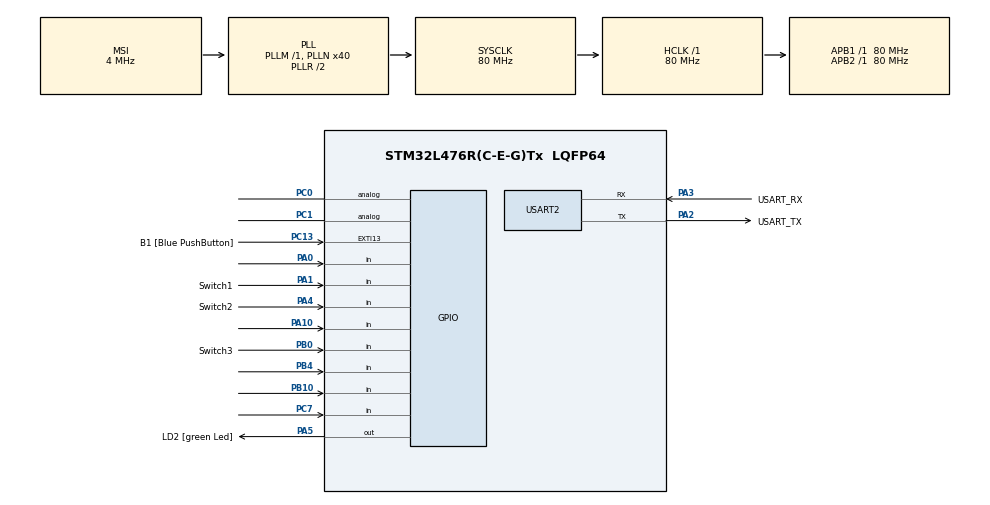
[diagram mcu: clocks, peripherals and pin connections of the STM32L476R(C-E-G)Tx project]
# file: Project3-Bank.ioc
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FREERTOS.RecursiveMutexes01=MUTEX,Dynamic,NULL
FREERTOS.Tasks01=Teller0,24,256,StartTeller0,Default,NULL,Dynamic,NULL,NULL;Customers,24,256,StartCustomers,Default,NULL,Dynamic,NULL,NULL;Clock,24,256,StartClock,Default,NULL,Dynamic,NULL,NULL;Manager,24,256,StartManager,Default,NULL,Dynamic,NULL,NULL;Breaker,24,256,StartBreaker,Default,NULL,Dynamic,NULL,NULL;Teller1,24,256,StartTeller1,Default,NULL,Dynamic,NULL,NULL;Teller2,24,256,StartTeller2,Default,NULL,Dynamic,NULL,NULL
FREERTOS.configTICK_RATE_HZ=1000
FREERTOS.configTOTAL_HEAP_SIZE=23000
FREERTOS.configUSE_IDLE_HOOK=1
FREERTOS.configUSE_NEWLIB_REENTRANT=1
Mcu.Family=STM32L4
Mcu.Name=STM32L476R(C-E-G)Tx
Mcu.Package=LQFP64
NVIC.PriorityGroup=NVIC_PRIORITYGROUP_4
NVIC.RNG_IRQn=true\:5\:0\:false\:false\:true\:true\:true\:true\:true
NVIC.TIM6_DAC_IRQn=true\:5\:0\:false\:false\:true\:true\:true\:true\:true
PA0.Signal=GPIO_Input
PA1.GPIO_Label=Switch1
PA1.Signal=GPIO_Input
PA10.Signal=GPIO_Input
PA13\ (JTMS-SWDIO).GPIO_Label=TMS
PA13\ (JTMS-SWDIO).Signal=SYS_JTMS-SWDIO
PA14\ (JTCK-SWCLK).GPIO_Label=TCK
PA14\ (JTCK-SWCLK).Signal=SYS_JTCK-SWCLK
PA2.GPIO_Label=USART_TX
PA2.GPIO_Mode=GPIO_MODE_AF_PP
PA2.GPIO_PuPd=GPIO_NOPULL
PA2.GPIO_Speed=GPIO_SPEED_FREQ_VERY_HIGH
PA2.Mode=Asynchronous
PA2.Signal=USART2_TX
PA3.GPIO_Label=USART_RX
PA3.GPIO_Mode=GPIO_MODE_AF_PP
PA3.GPIO_PuPd=GPIO_NOPULL
PA3.GPIO_Speed=GPIO_SPEED_FREQ_VERY_HIGH
PA3.Mode=Asynchronous
PA3.Signal=USART2_RX
PA4.GPIO_Label=Switch2
PA4.Signal=GPIO_Input
PA5.GPIO_Label=LD2 [green Led]
PA5.GPIO_ModeDefaultOutputPP=GPIO_MODE_OUTPUT_PP
PA5.GPIO_PuPd=GPIO_NOPULL
PA5.GPIO_Speed=GPIO_SPEED_FREQ_LOW
PA5.Signal=GPIO_Output
PB0.GPIO_Label=Switch3
PB0.Signal=GPIO_Input
PB10.Signal=GPIO_Input
PB3\ (JTDO-TRACESWO).GPIO_Label=SWO
PB3\ (JTDO-TRACESWO).Signal=SYS_JTDO-SWO
PB4\ (NJTRST).Signal=GPIO_Input
PC0.Signal=GPIO_Analog
PC1.Signal=GPIO_Analog
PC13.GPIO_Label=B1 [Blue PushButton]
PC13.GPIO_ModeDefaultEXTI=GPIO_MODE_IT_FALLING
PC13.GPIO_PuPd=GPIO_NOPULL
PC13.Signal=GPXTI13
PC14-OSC32_IN\ (PC14).Signal=RCC_OSC32_IN
PC15-OSC32_OUT\ (PC15).Signal=RCC_OSC32_OUT
PC7.Signal=GPIO_Input
PH0-OSC_IN\ (PH0).Signal=RCC_OSC_IN
PH1-OSC_OUT\ (PH1).Signal=RCC_OSC_OUT
ProjectManager.HeapSize=0x200
ProjectManager.StackSize=0x400
ProjectManager.TargetToolchain=STM32CubeIDE
RCC.ADCFreq_Value=32000000
RCC.AHBFreq_Value=80000000
RCC.APB1Freq_Value=80000000
RCC.APB1TimFreq_Value=80000000
RCC.APB2Freq_Value=80000000
RCC.APB2TimFreq_Value=80000000
RCC.CortexFreq_Value=80000000
RCC.HCLKFreq_Value=80000000
RCC.HSE_VALUE=8000000
RCC.HSI_VALUE=16000000
RCC.LSE_VALUE=32768
RCC.MSI_VALUE=4000000
RCC.PLLN=40
RCC.PLLSAI1N=16
RCC.PREFETCH_ENABLE=1
RCC.SYSCLKFreq_VALUE=80000000
RCC.SYSCLKSource=RCC_SYSCLKSOURCE_PLLCLK
RCC.USBFreq_Value=32000000
RCC.VCOOutputFreq_Value=160000000
TIM6.AutoReloadPreload=TIM_AUTORELOAD_PRELOAD_ENABLE
TIM6.Period=222
TIM6.Prescaler=600
USART2.VirtualMode-Asynchronous=VM_ASYNC
VP_FREERTOS_VS_CMSIS_V2.Mode=CMSIS_V2
VP_RNG_VS_RNG.Mode=RNG_Activate
VP_TIM6_VS_ClockSourceINT.Mode=Enable_Timer
board=NUCLEO-L476RG

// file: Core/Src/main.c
/* USER CODE BEGIN Header */
/**
  ******************************************************************************
  * @file           : main.c
  * @brief          : Main program body
  ******************************************************************************
  * @attention
  *
  * Copyright (c) 2024 STMicroelectronics.
  * All rights reserved.
  *
  * This software is licensed under terms that can be found in the LICENSE file
  * in the root directory of this software component.
  * If no LICENSE file comes with this software, it is provided AS-IS.
  *
  ******************************************************************************
  */
/* USER CODE END Header */
#include "main.h"
#include "cmsis_os.h"

/* USER CODE BEGIN Includes */
#include "clock.h"
#include "customer.h"
#include "teller.h"
#include "breaker.h"
#include "string.h"
#include "stdio.h"
#include "stdlib.h"
#include "manager.h"
/* USER CODE END Includes */

/* USER CODE BEGIN PTD */
int day_over = 0;

/* USER CODE END PTD */

RNG_HandleTypeDef hrng;

TIM_HandleTypeDef htim6;

UART_HandleTypeDef huart2;

/* Definitions for Teller0 */
osThreadId_t Teller0Handle;
const osThreadAttr_t Teller0_attributes = {
  .name = "Teller0",
  .stack_size = 256 * 4,
  .priority = (osPriority_t) osPriorityNormal,
};
/* Definitions for Customers */
osThreadId_t CustomersHandle;
const osThreadAttr_t Customers_attributes = {
  .name = "Customers",
  .stack_size = 256 * 4,
  .priority = (osPriority_t) osPriorityNormal,
};
/* Definitions for Clock */
osThreadId_t ClockHandle;
const osThreadAttr_t Clock_attributes = {
  .name = "Clock",
  .stack_size = 256 * 4,
  .priority = (osPriority_t) osPriorityNormal,
};
/* Definitions for Manager */
osThreadId_t ManagerHandle;
const osThreadAttr_t Manager_attributes = {
  .name = "Manager",
  .stack_size = 256 * 4,
  .priority = (osPriority_t) osPriorityNormal,
};
/* Definitions for Breaker */
osThreadId_t BreakerHandle;
const osThreadAttr_t Breaker_attributes = {
  .name = "Breaker",
  .stack_size = 256 * 4,
  .priority = (osPriority_t) osPriorityNormal,
};
/* Definitions for Teller1 */
osThreadId_t Teller1Handle;
const osThreadAttr_t Teller1_attributes = {
  .name = "Teller1",
  .stack_size = 256 * 4,
  .priority = (osPriority_t) osPriorityNormal,
};
/* Definitions for Teller2 */
osThreadId_t Teller2Handle;
const osThreadAttr_t Teller2_attributes = {
  .name = "Teller2",
  .stack_size = 256 * 4,
  .priority = (osPriority_t) osPriorityNormal,
};
/* Definitions for MUTEX */
osMutexId_t MUTEXHandle;
const osMutexAttr_t MUTEX_attributes = {
  .name = "MUTEX",
  .attr_bits = osMutexRecursive,
};

void SystemClock_Config(void);
static void MX_GPIO_Init(void);
static void MX_USART2_UART_Init(void);
static void MX_RNG_Init(void);
static void MX_TIM6_Init(void);
void StartTeller0(void *argument);
void StartCustomers(void *argument);
void StartClock(void *argument);
void StartManager(void *argument);
void StartBreaker(void *argument);
void StartTeller1(void *argument);
void StartTeller2(void *argument);

/* USER CODE BEGIN PFP */
int update_flag = 0;
/* USER CODE END PFP */

int main(void)
{

  /* MCU Configuration--------------------------------------------------------*/

  /* Reset of all peripherals, Initializes the Flash interface and the Systick. */
  HAL_Init();

  /* Configure the system clock */
  SystemClock_Config();

  /* Initialize all configured peripherals */
  MX_GPIO_Init();
  MX_USART2_UART_Init();
  MX_RNG_Init();
  MX_TIM6_Init();
  /* USER CODE BEGIN 2 */
  HAL_TIM_Base_Start_IT(&htim6);
  /* USER CODE END 2 */

  /* Init scheduler */
  osKernelInitialize();

  /* Create the recursive mutex(es) */
  /* creation of MUTEX */
  MUTEXHandle = osMutexNew(&MUTEX_attributes);

  /* Create the thread(s) */
  /* creation of Teller0 */
  Teller0Handle = osThreadNew(StartTeller0, NULL, &Teller0_attributes);

  /* creation of Customers */
  CustomersHandle = osThreadNew(StartCustomers, NULL, &Customers_attributes);

  /* creation of Clock */
  ClockHandle = osThreadNew(StartClock, NULL, &Clock_attributes);

  /* creation of Manager */
  ManagerHandle = osThreadNew(StartManager, NULL, &Manager_attributes);

  /* creation of Breaker */
  BreakerHandle = osThreadNew(StartBreaker, NULL, &Breaker_attributes);

  /* creation of Teller1 */
  Teller1Handle = osThreadNew(StartTeller1, NULL, &Teller1_attributes);

  /* creation of Teller2 */
  Teller2Handle = osThreadNew(StartTeller2, NULL, &Teller2_attributes);

  /* Start scheduler */
  osKernelStart();

  /* We should never get here as control is now taken by the scheduler */
  /* Infinite loop */
  while (1)
  {

  }
}

void SystemClock_Config(void)
{
  RCC_OscInitTypeDef RCC_OscInitStruct = {0};
  RCC_ClkInitTypeDef RCC_ClkInitStruct = {0};

  /** Configure the main internal regulator output voltage
  */
  if (HAL_PWREx_ControlVoltageScaling(PWR_REGULATOR_VOLTAGE_SCALE1) != HAL_OK)
  {
    Error_Handler();
  }

  /** Initializes the RCC Oscillators according to the specified parameters
  * in the RCC_OscInitTypeDef structure.
  */
  RCC_OscInitStruct.OscillatorType = RCC_OSCILLATORTYPE_MSI;
  RCC_OscInitStruct.MSIState = RCC_MSI_ON;
  RCC_OscInitStruct.MSICalibrationValue = 0;
  RCC_OscInitStruct.MSIClockRange = RCC_MSIRANGE_6;
  RCC_OscInitStruct.PLL.PLLState = RCC_PLL_ON;
  RCC_OscInitStruct.PLL.PLLSource = RCC_PLLSOURCE_MSI;
  RCC_OscInitStruct.PLL.PLLM = 1;
  RCC_OscInitStruct.PLL.PLLN = 40;
  RCC_OscInitStruct.PLL.PLLP = RCC_PLLP_DIV7;
  RCC_OscInitStruct.PLL.PLLQ = RCC_PLLQ_DIV2;
  RCC_OscInitStruct.PLL.PLLR = RCC_PLLR_DIV2;
  if (HAL_RCC_OscConfig(&RCC_OscInitStruct) != HAL_OK)
  {
    Error_Handler();
  }

  /** Initializes the CPU, AHB and APB buses clocks
  */
  RCC_ClkInitStruct.ClockType = RCC_CLOCKTYPE_HCLK|RCC_CLOCKTYPE_SYSCLK
                              |RCC_CLOCKTYPE_PCLK1|RCC_CLOCKTYPE_PCLK2;
  RCC_ClkInitStruct.SYSCLKSource = RCC_SYSCLKSOURCE_PLLCLK;
  RCC_ClkInitStruct.AHBCLKDivider = RCC_SYSCLK_DIV1;
  RCC_ClkInitStruct.APB1CLKDivider = RCC_HCLK_DIV1;
  RCC_ClkInitStruct.APB2CLKDivider = RCC_HCLK_DIV1;

  if (HAL_RCC_ClockConfig(&RCC_ClkInitStruct, FLASH_LATENCY_4) != HAL_OK)
  {
    Error_Handler();
  }
}

static void MX_RNG_Init(void)
{

  hrng.Instance = RNG;
  if (HAL_RNG_Init(&hrng) != HAL_OK)
  {
    Error_Handler();
  }

}

static void MX_TIM6_Init(void)
{

  TIM_MasterConfigTypeDef sMasterConfig = {0};

  htim6.Instance = TIM6;
  htim6.Init.Prescaler = 600;
  htim6.Init.CounterMode = TIM_COUNTERMODE_UP;
  htim6.Init.Period = 222;
  htim6.Init.AutoReloadPreload = TIM_AUTORELOAD_PRELOAD_ENABLE;
  if (HAL_TIM_Base_Init(&htim6) != HAL_OK)
  {
    Error_Handler();
  }
  sMasterConfig.MasterOutputTrigger = TIM_TRGO_RESET;
  sMasterConfig.MasterSlaveMode = TIM_MASTERSLAVEMODE_DISABLE;
  if (HAL_TIMEx_MasterConfigSynchronization(&htim6, &sMasterConfig) != HAL_OK)
  {
    Error_Handler();
  }

}

static void MX_USART2_UART_Init(void)
{

  huart2.Instance = USART2;
  huart2.Init.BaudRate = 115200;
  huart2.Init.WordLength = UART_WORDLENGTH_8B;
  huart2.Init.StopBits = UART_STOPBITS_1;
  huart2.Init.Parity = UART_PARITY_NONE;
  huart2.Init.Mode = UART_MODE_TX_RX;
  huart2.Init.HwFlowCtl = UART_HWCONTROL_NONE;
  huart2.Init.OverSampling = UART_OVERSAMPLING_16;
  huart2.Init.OneBitSampling = UART_ONE_BIT_SAMPLE_DISABLE;
  huart2.AdvancedInit.AdvFeatureInit = UART_ADVFEATURE_NO_INIT;
  if (HAL_UART_Init(&huart2) != HAL_OK)
  {
    Error_Handler();
  }

}

static void MX_GPIO_Init(void)
{
  GPIO_InitTypeDef GPIO_InitStruct = {0};

  /* GPIO Ports Clock Enable */
  __HAL_RCC_GPIOC_CLK_ENABLE();
  __HAL_RCC_GPIOH_CLK_ENABLE();
  __HAL_RCC_GPIOA_CLK_ENABLE();
  __HAL_RCC_GPIOB_CLK_ENABLE();

  /*Configure GPIO pin Output Level */
  HAL_GPIO_WritePin(LD2_GPIO_Port, LD2_Pin, GPIO_PIN_RESET);

  /*Configure GPIO pin : B1_Pin */
  GPIO_InitStruct.Pin = B1_Pin;
  GPIO_InitStruct.Mode = GPIO_MODE_IT_FALLING;
  GPIO_InitStruct.Pull = GPIO_NOPULL;
  HAL_GPIO_Init(B1_GPIO_Port, &GPIO_InitStruct);

  /*Configure GPIO pins : PC0 PC1 */
  GPIO_InitStruct.Pin = GPIO_PIN_0|GPIO_PIN_1;
  GPIO_InitStruct.Mode = GPIO_MODE_ANALOG;
  GPIO_InitStruct.Pull = GPIO_NOPULL;
  HAL_GPIO_Init(GPIOC, &GPIO_InitStruct);

  /*Configure GPIO pins : PA0 Switch1_Pin Switch2_Pin PA10 */
  GPIO_InitStruct.Pin = GPIO_PIN_0|Switch1_Pin|Switch2_Pin|GPIO_PIN_10;
  GPIO_InitStruct.Mode = GPIO_MODE_INPUT;
  GPIO_InitStruct.Pull = GPIO_NOPULL;
  HAL_GPIO_Init(GPIOA, &GPIO_InitStruct);

  /*Configure GPIO pin : LD2_Pin */
  GPIO_InitStruct.Pin = LD2_Pin;
  GPIO_InitStruct.Mode = GPIO_MODE_OUTPUT_PP;
  GPIO_InitStruct.Pull = GPIO_NOPULL;
  GPIO_InitStruct.Speed = GPIO_SPEED_FREQ_LOW;
  HAL_GPIO_Init(LD2_GPIO_Port, &GPIO_InitStruct);

  /*Configure GPIO pins : Switch3_Pin PB10 PB4 */
  GPIO_InitStruct.Pin = Switch3_Pin|GPIO_PIN_10|GPIO_PIN_4;
  GPIO_InitStruct.Mode = GPIO_MODE_INPUT;
  GPIO_InitStruct.Pull = GPIO_NOPULL;
  HAL_GPIO_Init(GPIOB, &GPIO_InitStruct);

  /*Configure GPIO pin : PC7 */
  GPIO_InitStruct.Pin = GPIO_PIN_7;
  GPIO_InitStruct.Mode = GPIO_MODE_INPUT;
  GPIO_InitStruct.Pull = GPIO_NOPULL;
  HAL_GPIO_Init(GPIOC, &GPIO_InitStruct);

}

/* USER CODE BEGIN 4 */

void HAL_TIM_PeriodElapsedCallback(TIM_HandleTypeDef *htim){
	update_flag = 1;
}

/* USER CODE END 4 */

void StartTeller0(void *argument)
{
  /* USER CODE BEGIN 5 */
	//Initialize 3 tellers
  /* Infinite loop */
	init_teller(0);
  for(;;)
  {
		osMutexAcquire(MUTEXHandle, osWaitForever);
		manage_teller(0);
		osMutexRelease(MUTEXHandle);
		osThreadYield();
  }
  /* USER CODE END 5 */
}

void StartCustomers(void *argument)
{
  /* USER CODE BEGIN StartCustomers */
  /* Infinite loop */
  init_customer();
  for(;;)
  {

	osMutexAcquire(MUTEXHandle, osWaitForever);
	run_customer();
	osMutexRelease(MUTEXHandle);
	osThreadYield();

  }
  /* USER CODE END StartCustomers */
}

void StartClock(void *argument)
{
  /* USER CODE BEGIN StartClock */
  /* Infinite loop */
	Clock = day_init(Clock);
  for(;;)
  {
	if(update_flag == 1 && day_over != 1){
	osMutexAcquire(MUTEXHandle, osWaitForever);
    Clock = clock_increment(Clock);
	update_flag = 0;
    osMutexRelease(MUTEXHandle);
    char buffer[256];
	if((Clock.minute  % 10) == 0 && (Clock.second % 60) == 30){
			sprintf(buffer, "Current time: %d:%d:%d \r\n", Clock.hour, Clock.minute, Clock.second);
			HAL_UART_Transmit(&huart2, (uint8_t*)buffer, strlen(buffer), 100);
			sprintf(buffer,"Customers waiting in Queue: %d \r\n", waiting_customers );
			HAL_UART_Transmit(&huart2, (uint8_t*)buffer, strlen(buffer), 100);
			sprintf(buffer,"Teller 1: %d Teller 2: %d Teller 3: %d \r\n", tellers[0].status,tellers[1].status,tellers[2].status);
			HAL_UART_Transmit(&huart2, (uint8_t*)buffer, strlen(buffer), 100);
		}
	osThreadYield();

	}
//	if(day_over == 1){
//		Clock = clock_init(Clock);
//	}
	update_flag = 0;
	osThreadYield();
  }
  /* USER CODE END StartClock */
}

void StartManager(void *argument)
{
  /* USER CODE BEGIN StartManager */
  /* Infinite loop */
  for(;;)
  {
	  osMutexAcquire(MUTEXHandle, osWaitForever);
	  run_manager();
	  osMutexRelease(MUTEXHandle);
	  osThreadYield();

  }
  /* USER CODE END StartManager */
}

void StartBreaker(void *argument)
{
  /* USER CODE BEGIN StartBreaker */
  /* Infinite loop */
	init_breaker();
  for(;;)
  {
	osMutexAcquire(MUTEXHandle, osWaitForever);
	run_breaker();
	osMutexRelease(MUTEXHandle);
	osThreadYield();

  }
  /* USER CODE END StartBreaker */
}

void StartTeller1(void *argument)
{
  /* USER CODE BEGIN StartTeller1 */
  /* Infinite loop */
	init_teller(1);
  for(;;)
  {
	osMutexAcquire(MUTEXHandle, osWaitForever);
	manage_teller(1);
	osMutexRelease(MUTEXHandle);
	osThreadYield();
  }
  /* USER CODE END StartTeller1 */
}

void StartTeller2(void *argument)
{
  /* USER CODE BEGIN StartTeller2 */
  /* Infinite loop */
	init_teller(2);
  for(;;){
	osMutexAcquire(MUTEXHandle, osWaitForever);
	manage_teller(2);
	osMutexRelease(MUTEXHandle);
	osThreadYield();
    //osDelay(1);
  }
  /* USER CODE END StartTeller2 */
}

void Error_Handler(void)
{
  __disable_irq();
  while (1)
  {
  }
}

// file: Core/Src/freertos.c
/* USER CODE BEGIN Header */
/**
  ******************************************************************************
  * File Name          : freertos.c
  * Description        : Code for freertos applications
  ******************************************************************************
  * @attention
  *
  * Copyright (c) 2024 STMicroelectronics.
  * All rights reserved.
  *
  * This software is licensed under terms that can be found in the LICENSE file
  * in the root directory of this software component.
  * If no LICENSE file comes with this software, it is provided AS-IS.
  *
  ******************************************************************************
  */
/* USER CODE END Header */

#include "FreeRTOS.h"
#include "task.h"
#include "main.h"
#include "manager.h"

/* Hook prototypes */
void vApplicationIdleHook(void);

/* USER CODE BEGIN 2 */
void vApplicationIdleHook( void )
{
   /* vApplicationIdleHook() will only be called if configUSE_IDLE_HOOK is set
   to 1 in FreeRTOSConfig.h. It will be called on each iteration of the idle
   task. It is essential that code added to this hook function never attempts
   to block in any way (for example, call xQueueReceive() with a block time
   specified, or call vTaskDelay()). If the application makes use of the
   vTaskDelete() API function (as this demo application does) then it is also
   important that vApplicationIdleHook() is permitted to return to its calling
   function, because it is the responsibility of the idle task to clean up
   memory allocated by the kernel to any task that has since been deleted. */
	idle_hook_count++;
}
/* USER CODE END 2 */
